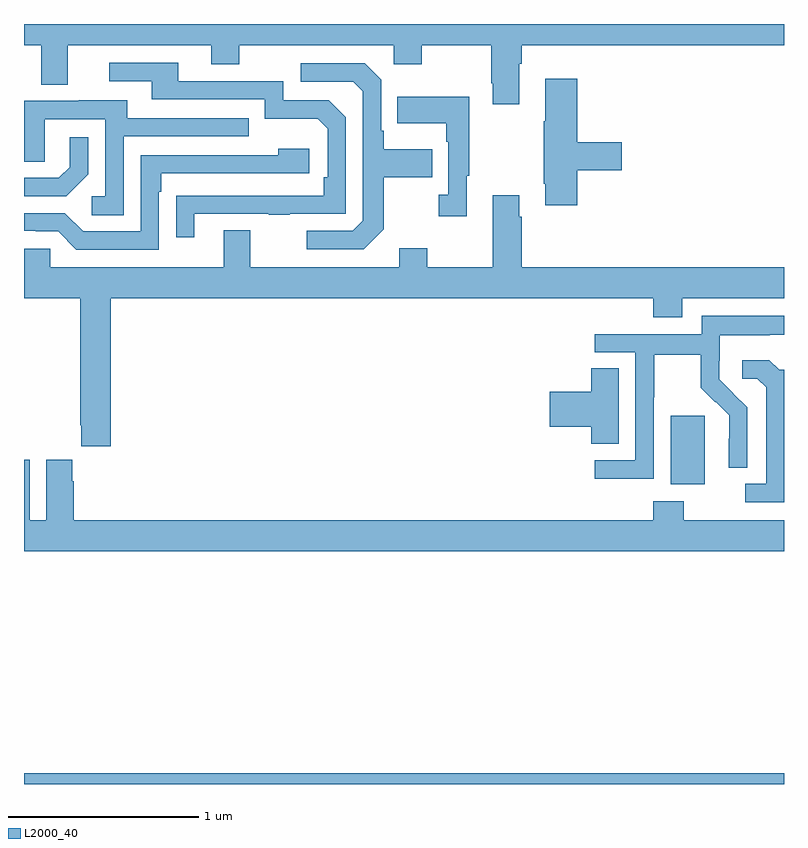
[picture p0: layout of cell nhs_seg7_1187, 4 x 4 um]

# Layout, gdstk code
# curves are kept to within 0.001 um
import gdstk
lib = gdstk.Library(unit=1e-6, precision=1e-09)
def R(c, l, rs):  # rectangles x0, y0, x1, y1
    for r in rs: c.add(gdstk.rectangle(r[:2], r[2:], *l))
def P(c, l, *ps):  # polygons
    for p in ps: c.add(gdstk.Polygon(p, *l))
L2000_40 = (2000, 40)

nhs_seg7_1187 = lib.new_cell('nhs_seg7_1187')
R(nhs_seg7_1187, L2000_40, [(193,1058,197,1058.056), (196.403,1059.578,196.582,1059.939)])
P(nhs_seg7_1187, L2000_40, [(195.607,1061.792),(195.62,1061.792),(195.62,1061.888),(197,1061.888),(197,1062),(193,1062),(193,1061.888),(193.091,1061.888),(193.091,1061.68),(193.231,1061.68),(193.231,1061.888),(193.985,1061.888),(193.985,1061.789),(194.133,1061.789),(194.133,1061.888),(194.946,1061.888),(194.946,1061.789),(195.093,1061.789),(195.093,1061.888),(195.46,1061.888),(195.46,1061.689),(195.467,1061.689),(195.467,1061.577),(195.607,1061.577)],
  [(193.897,1061.001),(194.287,1061.001),(194.287,1060.996),(194.399,1060.996),(194.399,1061.001),(194.694,1061.001),(194.694,1061.508),(194.604,1061.598),(194.364,1061.598),(194.364,1061.7),(193.813,1061.7),(193.813,1061.796),(193.449,1061.796),(193.449,1061.7),(193.673,1061.7),(193.673,1061.604),(194.268,1061.604),(194.268,1061.501),(194.545,1061.501),(194.598,1061.448),(194.598,1061.194),(194.578,1061.194),(194.578,1061.097),(193.801,1061.096),(193.801,1060.878),(193.897,1060.878)],
  [(194.893,1060.921),(194.893,1061.194),(195.149,1061.194),(195.149,1061.341),(194.893,1061.341),(194.893,1061.437),(194.88,1061.437),(194.88,1061.706),(194.793,1061.793),(194.457,1061.793),(194.457,1061.697),(194.733,1061.697),(194.784,1061.646),(194.784,1060.965),(194.73,1060.911),(194.487,1060.911),(194.487,1060.815),(194.787,1060.815)],
  [(195.911,1061.231),(196.147,1061.231),(196.147,1061.378),(195.911,1061.378),(195.911,1061.713),(195.743,1061.713),(195.743,1061.489),(195.736,1061.489),(195.736,1061.158),(195.743,1061.158),(195.743,1061.046),(195.911,1061.046)],
  [(195.331,1061.201),(195.343,1061.201),(195.343,1061.617),(194.965,1061.617),(194.965,1061.477),(195.222,1061.477),(195.222,1061.381),(195.234,1061.381),(195.234,1061.102),(195.183,1061.102),(195.183,1060.989),(195.331,1060.989)],
  [(193.524,1061.409),(194.183,1061.409),(194.183,1061.505),(193.543,1061.505),(193.543,1061.599),(193.289,1061.599),(193.289,1061.595),(193,1061.595),(193,1061.275),(193.11,1061.275),(193.11,1061.499),(193.428,1061.499),(193.428,1061.094),(193.356,1061.094),(193.356,1060.993),(193.524,1060.993)],
  [(193.338,1061.21),(193.338,1061.404),(193.241,1061.404),(193.241,1061.247),(193.184,1061.19),(193,1061.19),(193,1061.094),(193.222,1061.094)],
  [(193.71,1061.117),(193.723,1061.117),(193.723,1061.214),(194.5,1061.214),(194.5,1061.344),(194.339,1061.344),(194.339,1061.31),(193.614,1061.31),(193.614,1060.908),(193.311,1060.908),(193.215,1061.004),(193,1061.004),(193,1060.911),(193.061,1060.911),(193.061,1060.908),(193.179,1060.908),(193.275,1060.812),(193.71,1060.812)],
  [(193.457,1060.556),(196.313,1060.556),(196.313,1060.457),(196.465,1060.457),(196.465,1060.556),(197,1060.556),(197,1060.72),(195.62,1060.72),(195.62,1060.985),(195.607,1060.985),(195.607,1061.098),(195.467,1061.098),(195.467,1060.72),(195.123,1060.72),(195.123,1060.819),(194.975,1060.819),(194.975,1060.72),(194.191,1060.72),(194.191,1060.915),(194.051,1060.915),(194.051,1060.72),(193.137,1060.72),(193.137,1060.818),(193,1060.818),(193,1060.556),(193.297,1060.556),(193.297,1059.889),(193.301,1059.889),(193.301,1059.777),(193.457,1059.777)],
  [(196.314,1060.036),(196.317,1060.036),(196.317,1060.26),(196.561,1060.26),(196.561,1060.085),(196.638,1060.008),(196.641,1060.011),(196.712,1059.941),(196.712,1059.818),(196.71,1059.818),(196.71,1059.664),(196.806,1059.664),(196.806,1059.982),(196.66,1060.13),(196.66,1060.227),(196.662,1060.227),(196.662,1060.361),(196.925,1060.361),(196.925,1060.365),(197,1060.365),(197,1060.465),(196.566,1060.465),(196.566,1060.368),(196.005,1060.368),(196.005,1060.272),(196.218,1060.272),(196.218,1059.705),(196.005,1059.705),(196.005,1059.607),(196.314,1059.607)],
  [(197,1060.179),(196.974,1060.179),(196.922,1060.231),(196.779,1060.231),(196.779,1060.134),(196.86,1060.134),(196.907,1060.087),(196.907,1059.579),(196.797,1059.579),(196.797,1059.483),(197,1059.483)],
  [(196.129,1060.187),(195.986,1060.187),(195.986,1060.064),(195.768,1060.064),(195.768,1059.881),(195.986,1059.881),(195.986,1059.79),(196.129,1059.79)],
  [(197,1059.388),(196.473,1059.388),(196.473,1059.487),(196.313,1059.487),(196.313,1059.388),(193.262,1059.388),(193.262,1059.593),(193.255,1059.593),(193.255,1059.706),(193.118,1059.706),(193.118,1059.388),(193.03,1059.388),(193.03,1059.706),(193,1059.706),(193,1059.224),(197,1059.224)])

lib.write_gds('nhs_seg7_1187.gds')
